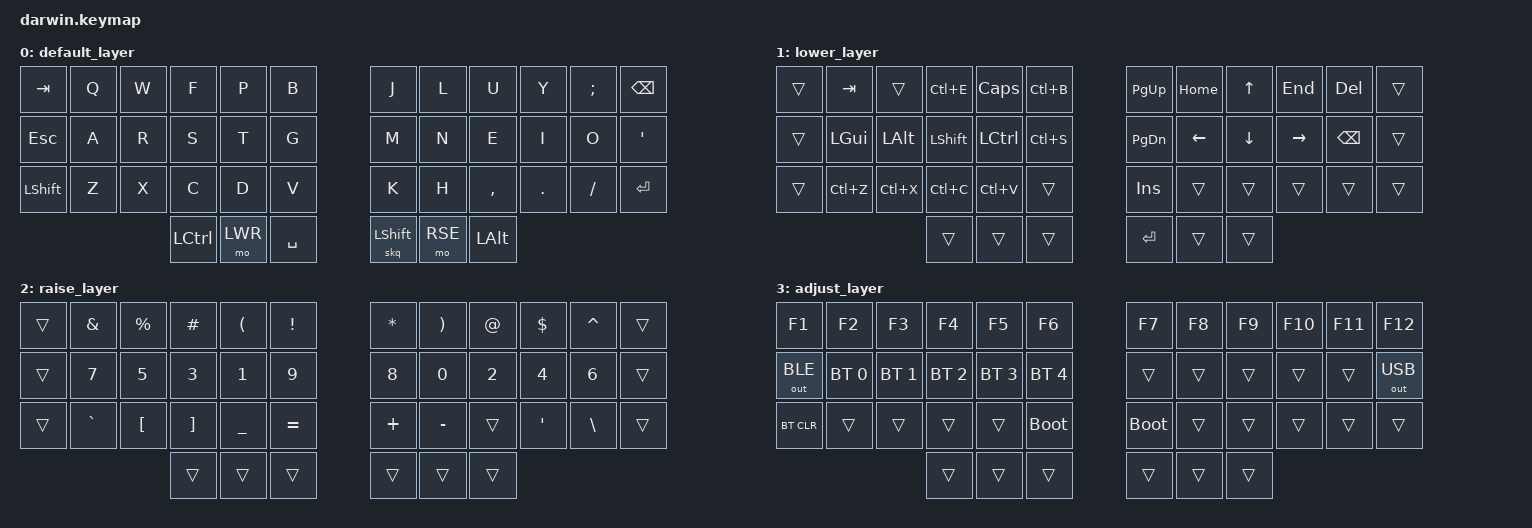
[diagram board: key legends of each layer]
/*
 * Copyright (c) 2020 The ZMK Contributors
 *
 * SPDX-License-Identifier: MIT
 */

#include <behaviors.dtsi>
#include <dt-bindings/zmk/keys.h>
#include <dt-bindings/zmk/bt.h>
#include <dt-bindings/zmk/outputs.h>

#define DEFAULT 0
#define LWR 1
#define RSE 2
#define ADJ 3

/ {
  behaviors {
    skq: sticky_key_quick_release {
		compatible = "zmk,behavior-sticky-key";
		label = "STICKY_KEY_QUICK_RELEASE";
		#binding-cells = <1>;
		bindings = <&kp>;
		release-after-ms = <500>;
		quick-release;
    };
	pht: positional_hold_tap {
		compatible = "zmk,behavior-hold-tap";
		label = "POSITIONAL_HOLD_TAP";
		#binding-cells = <2>;
		flavor = "hold-preferred";
		tapping-term-ms = <200>;
		quick-tap-ms = <200>;
		bindings = <&kp>, <&kp>;
	};
  };
    conditional_layers {
        compatible = "zmk,conditional-layers";
        tri_layer {
            if-layers = <1 2>;
            then-layer = <3>;
        };
    };
	
        keymap {
                compatible = "zmk,keymap";

                default_layer {
                        bindings = <
   &kp TAB   &kp Q  &kp W   &kp F  &kp P  &kp B     &kp J  &kp L  &kp U     &kp Y   &kp SEMI &kp BSPC
   &kp ESC   &kp A  &kp R   &kp S  &kp T  &kp G     &kp M  &kp N  &kp E     &kp I   &kp O    &kp SQT
   &kp LSHFT &kp Z  &kp X   &kp C  &kp D  &kp V     &kp K  &kp H  &kp COMMA &kp DOT &kp FSLH &kp RET
                  &kp LCTRL &mo LWR   &kp SPACE     &skq LSHFT  &mo RSE &kp LALT
                        >;
                };
                lower_layer {
                        bindings = <
   &trans     &kp TAB   &trans    &kp LC(E) &kp CAPS  &kp LC(B)      &kp PG_UP &kp HOME  &kp UP    &kp END   &kp DEL  &trans
   &trans     &kp LGUI  &kp LALT  &kp LSHFT &kp LCTRL &kp LC(S)      &kp PG_DN &kp LEFT  &kp DOWN  &kp RIGHT &kp BSPC &trans
   &trans     &kp LC(Z) &kp LC(X) &kp LC(C) &kp LC(V) &trans         &kp INS   &trans    &trans    &trans    &trans   &trans
                                  &trans    &trans    &trans         &kp RET   &trans    &trans
                        >;
                };

                raise_layer {
                        bindings = <
   &trans &kp AMPS  &kp PRCNT &kp HASH   &kp LPAR  &kp EXCL          &kp ASTRK &kp RPAR  &kp AT    &kp DLLR  &kp CARET &trans
   &trans &kp N7    &kp N5    &kp N3     &kp N1    &kp N9            &kp N8    &kp N0    &kp N2    &kp N4    &kp N6    &trans
   &trans &kp GRAVE &kp LBKT  &kp RBKT   &kp UNDER &kp EQUAL         &kp PLUS  &kp MINUS &trans    &kp SQT   &kp BSLH  &trans
                              &trans     &trans    &trans            &trans    &trans    &trans
                        >;
                };
                adjust_layer {
                        bindings = <
   &kp F1       &kp F2       &kp F3       &kp F4       &kp F5       &kp F6         &kp F7      &kp F8   &kp F9 &kp F10   &kp F11 &kp F12
   &out OUT_BLE &bt BT_SEL 0 &bt BT_SEL 1 &bt BT_SEL 2 &bt BT_SEL 3 &bt BT_SEL 4   &trans      &trans   &trans &trans    &trans  &out OUT_USB
   &bt BT_CLR   &trans       &trans       &trans       &trans       &bootloader    &bootloader &trans   &trans &trans    &trans  &trans
                                          &trans       &trans       &trans         &trans      &trans   &trans
                        >;
                };				
        };
};
